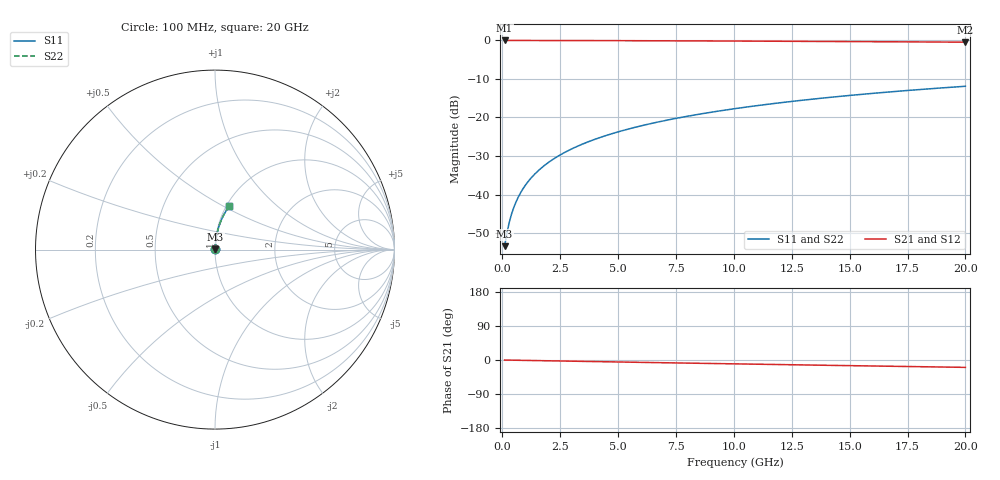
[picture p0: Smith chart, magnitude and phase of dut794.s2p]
! Touchstone file exported from HFSS 2024.1.0
!  File:  C:/UserFiles/LocalFiles/RDL_TSV_Batchsim/temp_RDL_top_794_1779853476.aedt
!  Generated:  11:46:55 AM May 27, 2026
!  Design:  RDL_top
!  Project:  temp_RDL_top_794_1779853476
!  Setup:  Setup1
!  Solution:  Sweep
! Variables:
!  dtsv = 10.80580581um
!  hbump = 3um
!  htsv = 73.82um
!  ldown = 100um
!  lrdl = 217.86um
!  p = 40
!  p1 = 46.34um
!  rhole = 1um
!  t = 450um
!  tdown = 3.915915916um
!  trdl = 4.76um
!  wdown = 15.38538539um
!  wrdl = 10.3um
# GHz S MA R 50.000000
! Terminal data exported
! Port[1] = Box2_T1
! Port[2] = Box2_T2
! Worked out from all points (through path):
!   200 points, 100 MHz to 20 GHz, reference 50 ohm
!   highest |S21| = -0.01 dB at 100 MHz (marker M1); lowest = -0.5 dB at 20 GHz (marker M2)
!   group delay of S21, straight-line fit = 2.69 ps
!   lowest |S11| = -53.4 dB at 100 MHz (marker M3), VSWR 1.00, Z = 50.2 + j0.134 ohm
!   |S11| at or under -10 dB: start of sweep to end of sweep
!   |S22| runs from -53.4 to -11.9 dB; largest |S21 - S12| = 3.5e-15
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0.1  0.002135 38.8  0.9983 -0.1  0.9983 -0.1  0.002135 38.8
! Gamma 0 0 0 0
! Port Impedance 50 0 50 0
0.2  0.003157 57.6  0.9983 -0.2  0.9983 -0.2  0.003157 57.6
0.3  0.004342 66.6  0.9983 -0.3  0.9983 -0.3  0.004342 66.6
0.4  0.005578 71.6  0.9982 -0.4  0.9982 -0.4  0.005578 71.6
0.5  0.006836 74.7  0.9982 -0.5  0.9982 -0.5  0.006836 74.7
0.6  0.008104 76.9  0.9981 -0.6  0.9981 -0.6  0.008104 76.9
0.8  0.01066 79.6  0.998 -0.9  0.998 -0.9  0.01066 79.6
1.1  0.01451 81.9  0.9979 -1.2  0.9979 -1.2  0.01451 81.9
1.5  0.01968 83.3  0.9976 -1.6  0.9976 -1.6  0.01968 83.3
1.8  0.02356 83.9  0.9974 -1.9  0.9974 -1.9  0.02356 83.9
2.1  0.02745 84.3  0.9971 -2.2  0.9971 -2.2  0.02745 84.3
2.7  0.03522 84.6  0.9965 -2.9  0.9965 -2.9  0.03522 84.6
3.5  0.04559 84.6  0.9954 -3.7  0.9954 -3.7  0.04559 84.6
4.2  0.05465 84.4  0.9943 -4.4  0.9943 -4.4  0.05465 84.4
5  0.06499 84.0  0.9928 -5.2  0.9928 -5.2  0.06499 84.0
5.9  0.07663 83.5  0.991 -6.2  0.991 -6.2  0.07663 83.5
6.8  0.08826 82.9  0.989 -7.1  0.989 -7.1  0.08826 82.9
8.3  0.1076 81.8  0.9854 -8.5  0.9854 -8.5  0.1076 81.8
10.1  0.1308 80.4  0.9806 -10.3  0.9806 -10.3  0.1308 80.4
13.4  0.1729 77.7  0.9709 -13.4  0.9709 -13.4  0.1729 77.7
16.7  0.2141 74.7  0.9601 -16.5  0.9601 -16.5  0.2141 74.7
20  0.254 71.8  0.9483 -19.4  0.9483 -19.4  0.254 71.8
